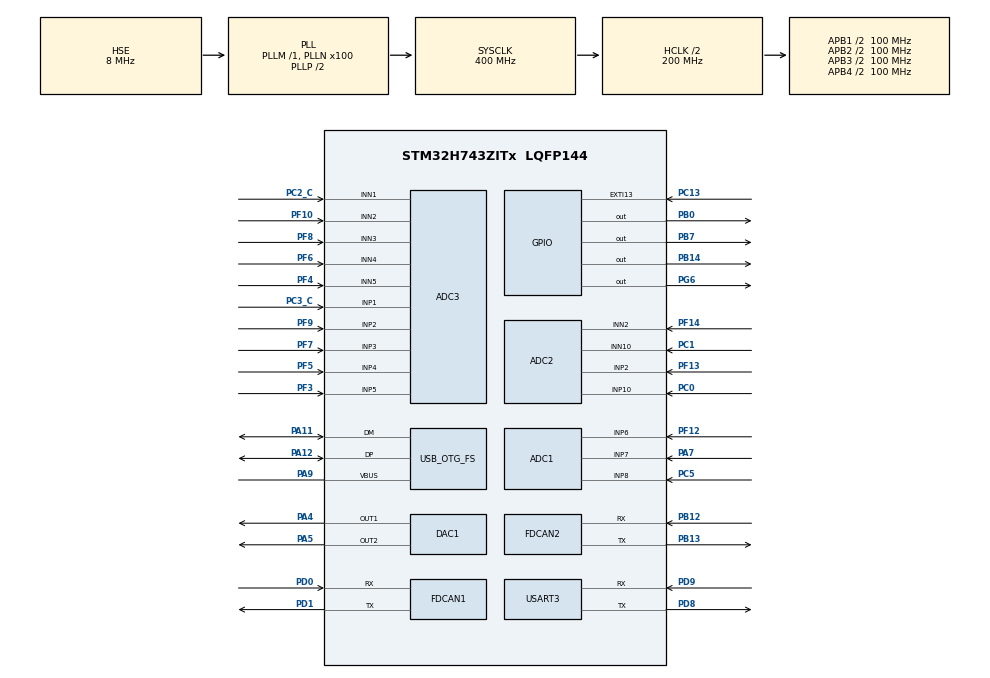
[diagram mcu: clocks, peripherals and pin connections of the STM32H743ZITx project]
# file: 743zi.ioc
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ADC1.Channel-0\#ChannelRegularConversion=ADC_CHANNEL_6
ADC1.Channel-1\#ChannelRegularConversion=ADC_CHANNEL_7
ADC1.Channel-2\#ChannelRegularConversion=ADC_CHANNEL_8
ADC1.ClockPrescaler=ADC_CLOCK_ASYNC_DIV12
ADC1.ContinuousConvMode=ENABLE
ADC1.ConversionDataManagement=ADC_CONVERSIONDATA_DMA_CIRCULAR
ADC1.DiscontinuousConvMode=DISABLE
ADC1.EOCSelection=ADC_EOC_SINGLE_CONV
ADC1.ExternalTrigConv=ADC_SOFTWARE_START
ADC1.NbrOfConversion=3
ADC1.NbrOfConversionFlag=1
ADC1.OffsetNumber-0\#ChannelRegularConversion=ADC_OFFSET_NONE
ADC1.OffsetNumber-1\#ChannelRegularConversion=ADC_OFFSET_NONE
ADC1.OffsetNumber-2\#ChannelRegularConversion=ADC_OFFSET_NONE
ADC1.Overrun=ADC_OVR_DATA_OVERWRITTEN
ADC1.OversamplingMode=DISABLE
ADC1.Rank-0\#ChannelRegularConversion=1
ADC1.Rank-1\#ChannelRegularConversion=2
ADC1.Rank-2\#ChannelRegularConversion=3
ADC1.SamplingTime-0\#ChannelRegularConversion=ADC_SAMPLETIME_810CYCLES_5
ADC1.SamplingTime-1\#ChannelRegularConversion=ADC_SAMPLETIME_810CYCLES_5
ADC1.SamplingTime-2\#ChannelRegularConversion=ADC_SAMPLETIME_810CYCLES_5
ADC1.master=1
ADC2.Channel-0\#ChannelRegularConversion=ADC_CHANNEL_2
ADC2.Channel-1\#ChannelRegularConversion=ADC_CHANNEL_10
ADC2.ClockPrescaler=ADC_CLOCK_ASYNC_DIV12
ADC2.ContinuousConvMode=ENABLE
ADC2.ConversionDataManagement=ADC_CONVERSIONDATA_DMA_CIRCULAR
ADC2.NbrOfConversion=2
ADC2.NbrOfConversionFlag=1
ADC2.OffsetNumber-0\#ChannelRegularConversion=ADC_OFFSET_NONE
ADC2.OffsetNumber-1\#ChannelRegularConversion=ADC_OFFSET_NONE
ADC2.Overrun=ADC_OVR_DATA_OVERWRITTEN
ADC2.Rank-0\#ChannelRegularConversion=1
ADC2.Rank-1\#ChannelRegularConversion=2
ADC2.SamplingTime-0\#ChannelRegularConversion=ADC_SAMPLETIME_1CYCLE_5
ADC2.SamplingTime-1\#ChannelRegularConversion=ADC_SAMPLETIME_1CYCLE_5
ADC2.SingleDiff-0\#ChannelRegularConversion=ADC_DIFFERENTIAL_ENDED
ADC2.SingleDiff-1\#ChannelRegularConversion=ADC_DIFFERENTIAL_ENDED
ADC3.Channel-0\#ChannelRegularConversion=ADC_CHANNEL_1
ADC3.Channel-1\#ChannelRegularConversion=ADC_CHANNEL_2
ADC3.Channel-2\#ChannelRegularConversion=ADC_CHANNEL_3
ADC3.Channel-3\#ChannelRegularConversion=ADC_CHANNEL_4
ADC3.Channel-4\#ChannelRegularConversion=ADC_CHANNEL_5
ADC3.ClockPrescaler=ADC_CLOCK_ASYNC_DIV12
ADC3.ContinuousConvMode=ENABLE
ADC3.ConversionDataManagement=ADC_CONVERSIONDATA_DMA_CIRCULAR
ADC3.NbrOfConversion=5
ADC3.NbrOfConversionFlag=1
ADC3.OffsetNumber-0\#ChannelRegularConversion=ADC_OFFSET_NONE
ADC3.OffsetNumber-1\#ChannelRegularConversion=ADC_OFFSET_NONE
ADC3.OffsetNumber-2\#ChannelRegularConversion=ADC_OFFSET_NONE
ADC3.OffsetNumber-3\#ChannelRegularConversion=ADC_OFFSET_NONE
ADC3.OffsetNumber-4\#ChannelRegularConversion=ADC_OFFSET_NONE
ADC3.Overrun=ADC_OVR_DATA_OVERWRITTEN
ADC3.OversamplingMode=DISABLE
ADC3.Rank-0\#ChannelRegularConversion=1
ADC3.Rank-1\#ChannelRegularConversion=2
ADC3.Rank-2\#ChannelRegularConversion=3
ADC3.Rank-3\#ChannelRegularConversion=4
ADC3.Rank-4\#ChannelRegularConversion=5
ADC3.SamplingTime-0\#ChannelRegularConversion=ADC_SAMPLETIME_1CYCLE_5
ADC3.SamplingTime-1\#ChannelRegularConversion=ADC_SAMPLETIME_1CYCLE_5
ADC3.SamplingTime-2\#ChannelRegularConversion=ADC_SAMPLETIME_1CYCLE_5
ADC3.SamplingTime-3\#ChannelRegularConversion=ADC_SAMPLETIME_1CYCLE_5
ADC3.SamplingTime-4\#ChannelRegularConversion=ADC_SAMPLETIME_1CYCLE_5
ADC3.SingleDiff-0\#ChannelRegularConversion=ADC_DIFFERENTIAL_ENDED
ADC3.SingleDiff-1\#ChannelRegularConversion=ADC_DIFFERENTIAL_ENDED
ADC3.SingleDiff-2\#ChannelRegularConversion=ADC_DIFFERENTIAL_ENDED
ADC3.SingleDiff-3\#ChannelRegularConversion=ADC_DIFFERENTIAL_ENDED
ADC3.SingleDiff-4\#ChannelRegularConversion=ADC_DIFFERENTIAL_ENDED
CORTEX_M7.CPU_DCache=Disabled
CORTEX_M7.CPU_ICache=Enabled
DAC1.DAC_Channel-DAC_OUT2_ExtAndInt=DAC_CHANNEL_2
DAC1.DAC_HoldTime-DAC_OUT2_ExtAndInt=1
DAC1.DAC_RefreshTime-DAC_OUT2_ExtAndInt=1
DAC1.DAC_SampleAndHold-DAC_OUT2_ExtAndInt=DAC_SAMPLEANDHOLD_ENABLE
DAC1.DAC_SampleTime-DAC_OUT2_ExtAndInt=1
DAC1.DAC_Trigger-DAC_OUT1_ExtAndInt=DAC_TRIGGER_T7_TRGO
DAC1.DAC_Trigger-DAC_OUT2_ExtAndInt=DAC_TRIGGER_T7_TRGO
DAC1.WaveGeneration-DAC_OUT1_ExtAndInt=DISABLE
DAC1.WaveGeneration-DAC_OUT2_ExtAndInt=DISABLE
Dma.ADC1.2.Direction=DMA_PERIPH_TO_MEMORY
Dma.ADC1.2.EventEnable=DISABLE
Dma.ADC1.2.FIFOMode=DMA_FIFOMODE_DISABLE
Dma.ADC1.2.Instance=DMA1_Stream4
Dma.ADC1.2.MemDataAlignment=DMA_MDATAALIGN_HALFWORD
Dma.ADC1.2.MemInc=DMA_MINC_ENABLE
Dma.ADC1.2.Mode=DMA_CIRCULAR
Dma.ADC1.2.PeriphDataAlignment=DMA_PDATAALIGN_HALFWORD
Dma.ADC1.2.PeriphInc=DMA_PINC_DISABLE
Dma.ADC1.2.Polarity=HAL_DMAMUX_REQ_GEN_RISING
Dma.ADC1.2.Priority=DMA_PRIORITY_HIGH
Dma.ADC1.2.RequestNumber=1
Dma.ADC1.2.SyncEnable=DISABLE
Dma.ADC1.2.SyncPolarity=HAL_DMAMUX_SYNC_NO_EVENT
Dma.ADC1.2.SyncRequestNumber=1
Dma.ADC2.3.Direction=DMA_PERIPH_TO_MEMORY
Dma.ADC2.3.EventEnable=DISABLE
Dma.ADC2.3.FIFOMode=DMA_FIFOMODE_DISABLE
Dma.ADC2.3.Instance=DMA1_Stream5
Dma.ADC2.3.MemDataAlignment=DMA_MDATAALIGN_HALFWORD
Dma.ADC2.3.MemInc=DMA_MINC_ENABLE
Dma.ADC2.3.Mode=DMA_CIRCULAR
Dma.ADC2.3.PeriphDataAlignment=DMA_PDATAALIGN_HALFWORD
Dma.ADC2.3.PeriphInc=DMA_PINC_DISABLE
Dma.ADC2.3.Polarity=HAL_DMAMUX_REQ_GEN_RISING
Dma.ADC2.3.Priority=DMA_PRIORITY_LOW
Dma.ADC2.3.RequestNumber=1
Dma.ADC2.3.SyncEnable=DISABLE
Dma.ADC2.3.SyncPolarity=HAL_DMAMUX_SYNC_NO_EVENT
Dma.ADC2.3.SyncRequestNumber=1
Dma.ADC3.4.Direction=DMA_PERIPH_TO_MEMORY
Dma.ADC3.4.EventEnable=DISABLE
Dma.ADC3.4.FIFOMode=DMA_FIFOMODE_DISABLE
Dma.ADC3.4.Instance=DMA1_Stream6
Dma.ADC3.4.MemDataAlignment=DMA_MDATAALIGN_HALFWORD
Dma.ADC3.4.MemInc=DMA_MINC_ENABLE
Dma.ADC3.4.Mode=DMA_CIRCULAR
Dma.ADC3.4.PeriphDataAlignment=DMA_PDATAALIGN_HALFWORD
Dma.ADC3.4.PeriphInc=DMA_PINC_DISABLE
Dma.ADC3.4.Polarity=HAL_DMAMUX_REQ_GEN_RISING
Dma.ADC3.4.Priority=DMA_PRIORITY_LOW
Dma.ADC3.4.RequestNumber=1
Dma.ADC3.4.SignalID=HAL_DMAMUX2_REQ_GEN_ADC3_IT
Dma.ADC3.4.SyncEnable=DISABLE
Dma.ADC3.4.SyncPolarity=HAL_DMAMUX_SYNC_NO_EVENT
Dma.ADC3.4.SyncRequestNumber=1
Dma.DAC1_CH1.0.Direction=DMA_MEMORY_TO_PERIPH
Dma.DAC1_CH1.0.EventEnable=DISABLE
Dma.DAC1_CH1.0.FIFOMode=DMA_FIFOMODE_DISABLE
Dma.DAC1_CH1.0.Instance=DMA1_Stream2
Dma.DAC1_CH1.0.MemDataAlignment=DMA_MDATAALIGN_HALFWORD
Dma.DAC1_CH1.0.MemInc=DMA_MINC_ENABLE
Dma.DAC1_CH1.0.Mode=DMA_CIRCULAR
Dma.DAC1_CH1.0.PeriphDataAlignment=DMA_PDATAALIGN_HALFWORD
Dma.DAC1_CH1.0.PeriphInc=DMA_PINC_DISABLE
Dma.DAC1_CH1.0.Polarity=HAL_DMAMUX_REQ_GEN_RISING
Dma.DAC1_CH1.0.Priority=DMA_PRIORITY_LOW
Dma.DAC1_CH1.0.RequestNumber=1
Dma.DAC1_CH1.0.SyncEnable=DISABLE
Dma.DAC1_CH1.0.SyncPolarity=HAL_DMAMUX_SYNC_NO_EVENT
Dma.DAC1_CH1.0.SyncRequestNumber=1
Dma.DAC1_CH2.1.Direction=DMA_MEMORY_TO_PERIPH
Dma.DAC1_CH2.1.EventEnable=DISABLE
Dma.DAC1_CH2.1.FIFOMode=DMA_FIFOMODE_DISABLE
Dma.DAC1_CH2.1.Instance=DMA1_Stream3
Dma.DAC1_CH2.1.MemDataAlignment=DMA_MDATAALIGN_HALFWORD
Dma.DAC1_CH2.1.MemInc=DMA_MINC_ENABLE
Dma.DAC1_CH2.1.Mode=DMA_CIRCULAR
Dma.DAC1_CH2.1.PeriphDataAlignment=DMA_PDATAALIGN_HALFWORD
Dma.DAC1_CH2.1.PeriphInc=DMA_PINC_DISABLE
Dma.DAC1_CH2.1.Polarity=HAL_DMAMUX_REQ_GEN_RISING
Dma.DAC1_CH2.1.Priority=DMA_PRIORITY_LOW
Dma.DAC1_CH2.1.RequestNumber=1
Dma.DAC1_CH2.1.SyncEnable=DISABLE
Dma.DAC1_CH2.1.SyncPolarity=HAL_DMAMUX_SYNC_NO_EVENT
Dma.DAC1_CH2.1.SyncRequestNumber=1
Dma.Request0=DAC1_CH1
Dma.Request1=DAC1_CH2
Dma.Request2=ADC1
Dma.Request3=ADC2
Dma.Request4=ADC3
Dma.Request5=USART3_RX
Dma.Request6=USART3_TX
Dma.USART3_RX.5.Direction=DMA_PERIPH_TO_MEMORY
Dma.USART3_RX.5.EventEnable=DISABLE
Dma.USART3_RX.5.FIFOMode=DMA_FIFOMODE_DISABLE
Dma.USART3_RX.5.Instance=DMA1_Stream0
Dma.USART3_RX.5.MemDataAlignment=DMA_MDATAALIGN_BYTE
Dma.USART3_RX.5.MemInc=DMA_MINC_ENABLE
Dma.USART3_RX.5.Mode=DMA_NORMAL
Dma.USART3_RX.5.PeriphDataAlignment=DMA_PDATAALIGN_BYTE
Dma.USART3_RX.5.PeriphInc=DMA_PINC_DISABLE
Dma.USART3_RX.5.Polarity=HAL_DMAMUX_REQ_GEN_RISING
Dma.USART3_RX.5.Priority=DMA_PRIORITY_LOW
Dma.USART3_RX.5.RequestNumber=1
Dma.USART3_RX.5.SyncEnable=DISABLE
Dma.USART3_RX.5.SyncPolarity=HAL_DMAMUX_SYNC_NO_EVENT
Dma.USART3_RX.5.SyncRequestNumber=1
Dma.USART3_TX.6.Direction=DMA_MEMORY_TO_PERIPH
Dma.USART3_TX.6.EventEnable=DISABLE
Dma.USART3_TX.6.FIFOMode=DMA_FIFOMODE_DISABLE
Dma.USART3_TX.6.Instance=DMA1_Stream1
Dma.USART3_TX.6.MemDataAlignment=DMA_MDATAALIGN_BYTE
Dma.USART3_TX.6.MemInc=DMA_MINC_ENABLE
Dma.USART3_TX.6.Mode=DMA_NORMAL
Dma.USART3_TX.6.PeriphDataAlignment=DMA_PDATAALIGN_BYTE
Dma.USART3_TX.6.PeriphInc=DMA_PINC_DISABLE
Dma.USART3_TX.6.Polarity=HAL_DMAMUX_REQ_GEN_RISING
Dma.USART3_TX.6.Priority=DMA_PRIORITY_LOW
Dma.USART3_TX.6.RequestNumber=1
Dma.USART3_TX.6.SyncEnable=DISABLE
Dma.USART3_TX.6.SyncPolarity=HAL_DMAMUX_SYNC_NO_EVENT
Dma.USART3_TX.6.SyncRequestNumber=1
FDCAN1.AutoRetransmission=ENABLE
FDCAN1.DataTimeSeg2=1
FDCAN1.NominalPrescaler=50
FDCAN1.NominalTimeSeg1=3
FDCAN1.NominalTimeSeg2=4
FDCAN2.AutoRetransmission=ENABLE
FDCAN2.Init_ProtocolException=ENABLE
FDCAN2.Mode=FDCAN_MODE_INTERNAL_LOOPBACK
FDCAN2.TransmitPause=ENABLE
FDCAN2.TxDelayCompensation=ENABLE
Mcu.Family=STM32H7
Mcu.Name=STM32H743ZITx
Mcu.Package=LQFP144
NVIC.DMA1_Stream0_IRQn=true\:0\:0\:false\:false\:true\:false
NVIC.DMA1_Stream1_IRQn=true\:0\:0\:false\:false\:true\:false
NVIC.DMA1_Stream2_IRQn=true\:4\:0\:true\:false\:true\:false
NVIC.DMA1_Stream3_IRQn=true\:4\:0\:true\:false\:true\:false
NVIC.DMA1_Stream4_IRQn=true\:4\:0\:true\:false\:true\:false
NVIC.DMA1_Stream5_IRQn=true\:4\:0\:true\:false\:true\:false
NVIC.DMA1_Stream6_IRQn=true\:4\:0\:true\:false\:true\:false
NVIC.EXTI15_10_IRQn=true\:5\:1\:true\:false\:true\:true
NVIC.FDCAN1_IT0_IRQn=true\:0\:0\:false\:false\:true\:true
NVIC.FDCAN1_IT1_IRQn=true\:0\:0\:false\:false\:true\:true
NVIC.FDCAN2_IT0_IRQn=true\:0\:0\:false\:false\:true\:true
NVIC.FDCAN2_IT1_IRQn=true\:0\:0\:false\:false\:true\:true
NVIC.FDCAN_CAL_IRQn=true\:0\:0\:false\:false\:true\:true
NVIC.OTG_FS_IRQn=true\:0\:0\:false\:false\:true\:true
NVIC.PriorityGroup=NVIC_PRIORITYGROUP_3
NVIC.TIM6_DAC_IRQn=true\:0\:0\:false\:false\:true\:true
NVIC.TIM7_IRQn=true\:0\:0\:false\:false\:true\:true
NVIC.USART3_IRQn=true\:0\:0\:false\:false\:true\:true
PA11.Mode=Device_Only
PA11.Signal=USB_OTG_FS_DM
PA12.Mode=Device_Only
PA12.Signal=USB_OTG_FS_DP
PA13\ (JTMS/SWDIO).Mode=Serial_Wire
PA13\ (JTMS/SWDIO).Signal=SYS_JTMS-SWDIO
PA14\ (JTCK/SWCLK).Mode=Serial_Wire
PA14\ (JTCK/SWCLK).Signal=SYS_JTCK-SWCLK
PA4.Signal=COMP_DAC11_group
PA5.Signal=COMP_DAC12_group
PA7.Signal=ADCx_INP7
PA9.Mode=Activate_VBUS_BCD
PA9.Signal=USB_OTG_FS_VBUS
PB0.GPIO_ModeDefaultOutputPP=GPIO_MODE_OUTPUT_PP
PB0.GPIO_PuPd=GPIO_NOPULL
PB0.GPIO_Speed=GPIO_SPEED_FREQ_LOW
PB0.PinState=GPIO_PIN_RESET
PB0.Signal=GPIO_Output
PB12.Mode=FDCANSlave
PB12.Signal=FDCAN2_RX
PB13.Mode=FDCANSlave
PB13.Signal=FDCAN2_TX
PB14.Signal=GPIO_Output
PB7.Signal=GPIO_Output
PC0.Signal=ADCx_INP10
PC1.Signal=ADCx_INN10
PC13.GPIO_PuPd=GPIO_PULLDOWN
PC13.Signal=GPXTI13
PC14-OSC32_IN\ (OSC32_IN).Mode=LSE-External-Clock-Source
PC14-OSC32_IN\ (OSC32_IN).Signal=RCC_OSC32_IN
PC15-OSC32_OUT\ (OSC32_OUT).Mode=LSE-External-Clock-Source
PC15-OSC32_OUT\ (OSC32_OUT).Signal=RCC_OSC32_OUT
PC2_C.Mode=IN1-Differential
PC2_C.Signal=ADC3_INN1
PC3_C.Mode=IN1-Differential
PC3_C.Signal=ADC3_INP1
PC5.Signal=ADCx_INP8
PD0.Mode=FDCANMaster
PD0.Signal=FDCAN1_RX
PD1.Mode=FDCANMaster
PD1.Signal=FDCAN1_TX
PD8.Mode=Asynchronous
PD8.Signal=USART3_TX
PD9.Mode=Asynchronous
PD9.Signal=USART3_RX
PF10.Mode=IN2-Differential
PF10.Signal=ADC3_INN2
PF12.Mode=IN6-Single-Ended
PF12.Signal=ADC1_INP6
PF13.Mode=IN2-Differential
PF13.Signal=ADC2_INP2
PF14.Mode=IN2-Differential
PF14.Signal=ADC2_INN2
PF3.Mode=IN5-Differential
PF3.Signal=ADC3_INP5
PF4.Mode=IN5-Differential
PF4.Signal=ADC3_INN5
PF5.Mode=IN4-Differential
PF5.Signal=ADC3_INP4
PF6.Mode=IN4-Differential
PF6.Signal=ADC3_INN4
PF7.Mode=IN3-Differential
PF7.Signal=ADC3_INP3
PF8.Mode=IN3-Differential
PF8.Signal=ADC3_INN3
PF9.Mode=IN2-Differential
PF9.Signal=ADC3_INP2
PG6.Signal=GPIO_Output
PH0-OSC_IN\ (PH0).Mode=HSE-External-Clock-Source
PH0-OSC_IN\ (PH0).Signal=RCC_OSC_IN
PH1-OSC_OUT\ (PH1).Mode=HSE-External-Clock-Source
PH1-OSC_OUT\ (PH1).Signal=RCC_OSC_OUT
ProjectManager.HeapSize=0x4000
ProjectManager.StackSize=0x4000
ProjectManager.TargetToolchain=MDK-ARM V5
RCC.ADCFreq_Value=200000000
RCC.APB1Freq_Value=100000000
RCC.APB2Freq_Value=100000000
RCC.APB3Freq_Value=100000000
RCC.APB4Freq_Value=100000000
RCC.CortexFreq_Value=400000000
RCC.D1PPRE=RCC_APB3_DIV2
RCC.D2PPRE1=RCC_APB1_DIV2
RCC.D2PPRE2=RCC_APB2_DIV2
RCC.D3PPRE=RCC_APB4_DIV2
RCC.DIVM1=1
RCC.DIVM2=1
RCC.DIVM3=1
RCC.DIVN1=100
RCC.DIVN2=50
RCC.DIVN3=48
RCC.DIVQ3=8
RCC.FDCANCLockSelection=RCC_FDCANCLKSOURCE_PLL2
RCC.HCLKFreq_Value=200000000
RCC.HPRE=RCC_HCLK_DIV2
RCC.HSE_VALUE=8000000
RCC.PLLSourceVirtual=RCC_PLLSOURCE_HSE
RCC.SYSCLKFreq_VALUE=400000000
RCC.SYSCLKSource=RCC_SYSCLKSOURCE_PLLCLK
RCC.USBCLockSelection=RCC_USBCLKSOURCE_PLL3
RCC.USBFreq_Value=48000000
SH.ADCx_INN10.0=ADC2_INN10,IN10-Differential
SH.ADCx_INP10.0=ADC2_INP10,IN10-Differential
SH.ADCx_INP7.0=ADC1_INP7,IN7-Single-Ended
SH.ADCx_INP8.0=ADC1_INP8,IN8-Single-Ended
SH.COMP_DAC11_group.0=DAC1_OUT1,DAC_OUT1_ExtAndInt
SH.COMP_DAC12_group.0=DAC1_OUT2,DAC_OUT2_ExtAndInt
TIM4.AutoReloadPreload=TIM_AUTORELOAD_PRELOAD_DISABLE
TIM4.ClockDivision=TIM_CLOCKDIVISION_DIV4
TIM4.Period=10000
TIM4.Prescaler=20000
TIM4.TIM_MasterOutputTrigger=TIM_TRGO_UPDATE
TIM6.Period=65535
TIM6.Prescaler=200
TIM7.AutoReloadPreload=TIM_AUTORELOAD_PRELOAD_ENABLE
TIM7.Period=1000
TIM7.Prescaler=20000
TIM7.TIM_MasterOutputTrigger=TIM_TRGO_UPDATE
USART3.VirtualMode-Asynchronous=VM_ASYNC
USB_DEVICE.CLASS_NAME_FS=CDC
USB_DEVICE.USBD_DEBUG_LEVEL-CDC_FS=3
USB_DEVICE.VirtualMode-CDC_FS=Cdc
USB_DEVICE.VirtualModeFS=Cdc_FS
USB_OTG_FS.VirtualMode=Device_Only
USB_OTG_FS.lpm_enable=DISABLE
VP_RNG_VS_RNG.Mode=RNG_Activate
VP_TIM4_VS_ClockSourceINT.Mode=Internal
VP_TIM6_VS_ClockSourceINT.Mode=Enable_Timer
VP_TIM7_VS_ClockSourceINT.Mode=Enable_Timer
VP_USB_DEVICE_VS_USB_DEVICE_CDC_FS.Mode=CDC_FS
board=custom

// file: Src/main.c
/* USER CODE BEGIN Header */
/**
  ******************************************************************************
  * @file           : main.c
  * @brief          : Main program body
  ******************************************************************************
  ** This notice applies to any and all portions of this file
  * that are not between comment pairs USER CODE BEGIN and
  * USER CODE END. Other portions of this file, whether
  * inserted by the user or by software development tools
  * are owned by their respective copyright owners.
  *
  * COPYRIGHT(c) 2019 STMicroelectronics
  *
  * Redistribution and use in source and binary forms, with or without modification,
  * are permitted provided that the following conditions are met:
  *   1. Redistributions of source code must retain the above copyright notice,
  *      this list of conditions and the following disclaimer.
  *   2. Redistributions in binary form must reproduce the above copyright notice,
  *      this list of conditions and the following disclaimer in the documentation
  *      and/or other materials provided with the distribution.
  *   3. Neither the name of STMicroelectronics nor the names of its contributors
  *      may be used to endorse or promote products derived from this software
  *      without specific prior written permission.
  *
  * THIS SOFTWARE IS PROVIDED BY THE COPYRIGHT HOLDERS AND CONTRIBUTORS "AS IS"
  * AND ANY EXPRESS OR IMPLIED WARRANTIES, INCLUDING, BUT NOT LIMITED TO, THE
  * IMPLIED WARRANTIES OF MERCHANTABILITY AND FITNESS FOR A PARTICULAR PURPOSE ARE
  * DISCLAIMED. IN NO EVENT SHALL THE COPYRIGHT HOLDER OR CONTRIBUTORS BE LIABLE
  * FOR ANY DIRECT, INDIRECT, INCIDENTAL, SPECIAL, EXEMPLARY, OR CONSEQUENTIAL
  * DAMAGES (INCLUDING, BUT NOT LIMITED TO, PROCUREMENT OF SUBSTITUTE GOODS OR
  * SERVICES; LOSS OF USE, DATA, OR PROFITS; OR BUSINESS INTERRUPTION) HOWEVER
  * CAUSED AND ON ANY THEORY OF LIABILITY, WHETHER IN CONTRACT, STRICT LIABILITY,
  * OR TORT (INCLUDING NEGLIGENCE OR OTHERWISE) ARISING IN ANY WAY OUT OF THE USE
  * OF THIS SOFTWARE, EVEN IF ADVISED OF THE POSSIBILITY OF SUCH DAMAGE.
  *
  ******************************************************************************
  */
/* USER CODE END Header */

#include "main.h"
#include "usb_device.h"

/* USER CODE BEGIN Includes */
#include "stdio.h"
#include "string.h"
#include <math.h>
#include "arm_math.h"
#include "arm_const_structs.h"
#include "led.h"
//#include "user_usbfs.h"

// #include "usbd_hid.h"
/* USER CODE END Includes */

/* USER CODE BEGIN PD */
#define BUFFER_SIZE 2

#define TIMER_TIM           htim6   // can only use 32bit timers TIM2 or TIM5
#define TIMER_CLOCK         (rccClocks.PCLK1_Frequency * 2)
#define TIMER_EN            RCC_APB1PeriphClockCmd(RCC_APB1Periph_TIM6, ENABLE)
#define TIMER_IRQ_CH        TIM6_IRQn
#define TIMER_ISR           TIM6_IRQHandler
//#define TIMER_CORE_HALT       DBGMCU_TIM5_STOP

#define timerMicros()       (uint32_t)((uint32_t)TIMER_TIM.Instance->CNT+clock6high8)
#define timerStart()        timerStart = timerMicros()
#define timerStop()         (timerMicros() - timerStart)
/* USER CODE END PD */

ADC_HandleTypeDef hadc1;
ADC_HandleTypeDef hadc2;
ADC_HandleTypeDef hadc3;
DMA_HandleTypeDef hdma_adc1;
DMA_HandleTypeDef hdma_adc2;
DMA_HandleTypeDef hdma_adc3;

DAC_HandleTypeDef hdac1;
DMA_HandleTypeDef hdma_dac1_ch1;
DMA_HandleTypeDef hdma_dac1_ch2;

FDCAN_HandleTypeDef hfdcan1;
FDCAN_HandleTypeDef hfdcan2;

RNG_HandleTypeDef hrng;

TIM_HandleTypeDef htim4;
TIM_HandleTypeDef htim6;
TIM_HandleTypeDef htim7;

UART_HandleTypeDef huart3;
DMA_HandleTypeDef hdma_usart3_rx;
DMA_HandleTypeDef hdma_usart3_tx;

/* USER CODE BEGIN PV */
uint8_t rx_buffer[BUFFER_SIZE] = {0};
uint32_t clock6high8 = 0, timerStart;
static char str[100] = {1, 2, 3, 4, 0};
uint16_t adc_con_val[100] = {0};
uint16_t adc_con_val1[100] = {0};
uint16_t adc_con_val3[30] = {0};
const uint16_t CH_value[32] =
{
//  100,200,300,400,500,600,700,800,900,1000,
//  1100,1200,1300,1400,1500,1600,1700,1800,1900,2000,
//  2100,2200,2300,2400,2500,2600,2700,2800,2900,3000,3100,3200,
    2448, 2832, 3186, 3496, 3751, 3940, 4057, 4095, 4057, 3940,
    3751, 3496, 3186, 2832, 2448, 2048, 1648, 1264, 910, 600, 345,
    156, 39, 0, 39, 156, 345, 600, 910, 1264, 1648, 2048
};

/* USER CODE END PV */

void SystemClock_Config(void);
static void MX_GPIO_Init(void);
static void MX_DMA_Init(void);
static void MX_TIM6_Init(void);
static void MX_TIM7_Init(void);
static void MX_DAC1_Init(void);
static void MX_ADC1_Init(void);
static void MX_TIM4_Init(void);
static void MX_ADC3_Init(void);
static void MX_ADC2_Init(void);
static void MX_RNG_Init(void);
static void MX_FDCAN1_Init(void);
static void MX_FDCAN2_Init(void);
static void MX_USART3_UART_Init(void);
/* USER CODE BEGIN PFP */
void    UserTaskEntry(void);
void UserTaskEntry1(void);
void UserTaskEntry2(void);
void UserTaskEntry3(void);
void UserTaskEntry4(void);
void UserTaskEntry5(void);
void UserTaskEntry6(void);
/* USER CODE END PFP */

/* USER CODE BEGIN 0 */
int fputc(int ch, FILE* stream)
{
	HAL_UART_Transmit(&huart3, (uint8_t*)&ch, 1, 1000);
	return ch;
}

    void DMA_Usart_Send(uint8_t * buf, uint8_t len) //串口发送封装
    {
//    while (HAL_DMA_GetState(&hdma_usart3_tx) != HAL_DMA_STATE_READY){}
//      while (0!= usart1_send_complete_flag){}

//    while ((hdma_usart1_tx.Instance->CNDTR)>0);
        HAL_UART_Transmit_DMA(&huart3, buf, len);
//      while (HAL_DMA_GetState(&hdma_usart3_tx) != HAL_DMA_STATE_READY){}

        while (huart3.gState == HAL_UART_STATE_BUSY_TX)
        {
            ;
        }
//              usart1_send_complete_flag=1;

    }

    void HAL_UART_RxCpltCallback(UART_HandleTypeDef * UartHandle)
    {
        if(rx_buffer[0] != 0x0D)
            HAL_UART_Transmit_DMA(&huart3, rx_buffer, sizeof(rx_buffer) - 1); //可以通过DMA把数据发出去
        else
            HAL_UART_Transmit_DMA(&huart3, (uint8_t*)"\r\n", 2); //可以通过DMA把数据发出去

        HAL_UART_Receive_DMA(&huart3, (uint8_t *)rx_buffer, sizeof(rx_buffer) - 1);  //重新使能接收
    }
//回调函数，定时器中断服务函数调用的HAL库函数调用
    void HAL_TIM_PeriodElapsedCallback(TIM_HandleTypeDef * htim)
    {
        if(htim == (&htim6))
        {
//              DMA_Usart_Send((uint8_t*)"begin6\r\n",8);
            clock6high8 += 0x10000;
            rt_hw_led_tog() ;

//          static uint16_t qwqw=3000;
//          qwqw+=50;
//          if(qwqw>4000) qwqw=3000;
//          HAL_DAC_SetValue(&hdac1, DAC_CHANNEL_2, DAC_ALIGN_12B_R, qwqw);
        }
        if(htim == (&htim7))
        {
            rt_hw_led_tog()     ;
        }
    }
/* USER CODE END 0 */

int main(void)
{

  /* Enable I-Cache---------------------------------------------------------*/
  SCB_EnableICache();

  /* MCU Configuration--------------------------------------------------------*/

  /* Reset of all peripherals, Initializes the Flash interface and the Systick. */
  HAL_Init();

  /* Configure the system clock */
  SystemClock_Config();

  /* Initialize all configured peripherals */
  MX_GPIO_Init();
  MX_DMA_Init();
  MX_TIM6_Init();
  MX_TIM7_Init();
  MX_DAC1_Init();
  MX_ADC1_Init();
  MX_TIM4_Init();
  MX_ADC3_Init();
  MX_ADC2_Init();
  MX_RNG_Init();
  MX_FDCAN1_Init();
  MX_FDCAN2_Init();
  MX_USB_DEVICE_Init();
  MX_USART3_UART_Init();
  /* USER CODE BEGIN 2 */
        UserTaskEntry();
        UserTaskEntry1();
        UserTaskEntry2();
        UserTaskEntry3();
        UserTaskEntry4();
        UserTaskEntry5();
        UserTaskEntry6();
  /* USER CODE END 2 */

  /* Infinite loop */
  /* USER CODE BEGIN WHILE */
        while (1)
        {
//					printf("while 1");
    /* USER CODE END WHILE */

        }
}

void SystemClock_Config(void)
{
  RCC_OscInitTypeDef RCC_OscInitStruct = {0};
  RCC_ClkInitTypeDef RCC_ClkInitStruct = {0};
  RCC_PeriphCLKInitTypeDef PeriphClkInitStruct = {0};

  /**Supply configuration update enable
  */
  MODIFY_REG(PWR->CR3, PWR_CR3_SCUEN, 0);
  /**Configure the main internal regulator output voltage
  */
  __HAL_PWR_VOLTAGESCALING_CONFIG(PWR_REGULATOR_VOLTAGE_SCALE1);

  while ((PWR->D3CR & (PWR_D3CR_VOSRDY)) != PWR_D3CR_VOSRDY)
  {

  }
  /**Macro to configure the PLL clock source
  */
  __HAL_RCC_PLL_PLLSOURCE_CONFIG(RCC_PLLSOURCE_HSE);
  /**Initializes the CPU, AHB and APB busses clocks
  */
  RCC_OscInitStruct.OscillatorType = RCC_OSCILLATORTYPE_HSI48|RCC_OSCILLATORTYPE_HSE;
  RCC_OscInitStruct.HSEState = RCC_HSE_BYPASS;
  RCC_OscInitStruct.HSI48State = RCC_HSI48_ON;
  RCC_OscInitStruct.PLL.PLLState = RCC_PLL_ON;
  RCC_OscInitStruct.PLL.PLLSource = RCC_PLLSOURCE_HSE;
  RCC_OscInitStruct.PLL.PLLM = 1;
  RCC_OscInitStruct.PLL.PLLN = 100;
  RCC_OscInitStruct.PLL.PLLP = 2;
  RCC_OscInitStruct.PLL.PLLQ = 2;
  RCC_OscInitStruct.PLL.PLLR = 2;
  RCC_OscInitStruct.PLL.PLLRGE = RCC_PLL1VCIRANGE_3;
  RCC_OscInitStruct.PLL.PLLVCOSEL = RCC_PLL1VCOWIDE;
  RCC_OscInitStruct.PLL.PLLFRACN = 0;
  if (HAL_RCC_OscConfig(&RCC_OscInitStruct) != HAL_OK)
  {
    Error_Handler();
  }
  /**Initializes the CPU, AHB and APB busses clocks
  */
  RCC_ClkInitStruct.ClockType = RCC_CLOCKTYPE_HCLK|RCC_CLOCKTYPE_SYSCLK
                              |RCC_CLOCKTYPE_PCLK1|RCC_CLOCKTYPE_PCLK2
                              |RCC_CLOCKTYPE_D3PCLK1|RCC_CLOCKTYPE_D1PCLK1;
  RCC_ClkInitStruct.SYSCLKSource = RCC_SYSCLKSOURCE_PLLCLK;
  RCC_ClkInitStruct.SYSCLKDivider = RCC_SYSCLK_DIV1;
  RCC_ClkInitStruct.AHBCLKDivider = RCC_HCLK_DIV2;
  RCC_ClkInitStruct.APB3CLKDivider = RCC_APB3_DIV2;
  RCC_ClkInitStruct.APB1CLKDivider = RCC_APB1_DIV2;
  RCC_ClkInitStruct.APB2CLKDivider = RCC_APB2_DIV2;
  RCC_ClkInitStruct.APB4CLKDivider = RCC_APB4_DIV2;

  if (HAL_RCC_ClockConfig(&RCC_ClkInitStruct, FLASH_LATENCY_2) != HAL_OK)
  {
    Error_Handler();
  }
  PeriphClkInitStruct.PeriphClockSelection = RCC_PERIPHCLK_USART3|RCC_PERIPHCLK_FDCAN
                              |RCC_PERIPHCLK_RNG|RCC_PERIPHCLK_ADC
                              |RCC_PERIPHCLK_USB;
  PeriphClkInitStruct.PLL2.PLL2M = 1;
  PeriphClkInitStruct.PLL2.PLL2N = 50;
  PeriphClkInitStruct.PLL2.PLL2P = 2;
  PeriphClkInitStruct.PLL2.PLL2Q = 2;
  PeriphClkInitStruct.PLL2.PLL2R = 2;
  PeriphClkInitStruct.PLL2.PLL2RGE = RCC_PLL2VCIRANGE_3;
  PeriphClkInitStruct.PLL2.PLL2VCOSEL = RCC_PLL2VCOWIDE;
  PeriphClkInitStruct.PLL2.PLL2FRACN = 0;
  PeriphClkInitStruct.PLL3.PLL3M = 1;
  PeriphClkInitStruct.PLL3.PLL3N = 48;
  PeriphClkInitStruct.PLL3.PLL3P = 2;
  PeriphClkInitStruct.PLL3.PLL3Q = 8;
  PeriphClkInitStruct.PLL3.PLL3R = 2;
  PeriphClkInitStruct.PLL3.PLL3RGE = RCC_PLL3VCIRANGE_3;
  PeriphClkInitStruct.PLL3.PLL3VCOSEL = RCC_PLL3VCOWIDE;
  PeriphClkInitStruct.PLL3.PLL3FRACN = 0;
  PeriphClkInitStruct.FdcanClockSelection = RCC_FDCANCLKSOURCE_PLL2;
  PeriphClkInitStruct.Usart234578ClockSelection = RCC_USART234578CLKSOURCE_D2PCLK1;
  PeriphClkInitStruct.RngClockSelection = RCC_RNGCLKSOURCE_HSI48;
  PeriphClkInitStruct.UsbClockSelection = RCC_USBCLKSOURCE_PLL3;
  PeriphClkInitStruct.AdcClockSelection = RCC_ADCCLKSOURCE_PLL2;
  if (HAL_RCCEx_PeriphCLKConfig(&PeriphClkInitStruct) != HAL_OK)
  {
    Error_Handler();
  }
}

static void MX_ADC1_Init(void)
{

  ADC_MultiModeTypeDef multimode = {0};
  ADC_ChannelConfTypeDef sConfig = {0};

  /**Common config
  */
  hadc1.Instance = ADC1;
  hadc1.Init.ClockPrescaler = ADC_CLOCK_ASYNC_DIV12;
  hadc1.Init.Resolution = ADC_RESOLUTION_16B;
  hadc1.Init.ScanConvMode = ADC_SCAN_ENABLE;
  hadc1.Init.EOCSelection = ADC_EOC_SINGLE_CONV;
  hadc1.Init.LowPowerAutoWait = DISABLE;
  hadc1.Init.ContinuousConvMode = ENABLE;
  hadc1.Init.NbrOfConversion = 3;
  hadc1.Init.DiscontinuousConvMode = DISABLE;
  hadc1.Init.ExternalTrigConv = ADC_SOFTWARE_START;
  hadc1.Init.ExternalTrigConvEdge = ADC_EXTERNALTRIGCONVEDGE_NONE;
  hadc1.Init.ConversionDataManagement = ADC_CONVERSIONDATA_DMA_CIRCULAR;
  hadc1.Init.Overrun = ADC_OVR_DATA_OVERWRITTEN;
  hadc1.Init.LeftBitShift = ADC_LEFTBITSHIFT_NONE;
  hadc1.Init.BoostMode = DISABLE;
  hadc1.Init.OversamplingMode = DISABLE;
  if (HAL_ADC_Init(&hadc1) != HAL_OK)
  {
    Error_Handler();
  }
  /**Configure the ADC multi-mode
  */
  multimode.Mode = ADC_MODE_INDEPENDENT;
  if (HAL_ADCEx_MultiModeConfigChannel(&hadc1, &multimode) != HAL_OK)
  {
    Error_Handler();
  }
  /**Configure Regular Channel
  */
  sConfig.Channel = ADC_CHANNEL_6;
  sConfig.Rank = ADC_REGULAR_RANK_1;
  sConfig.SamplingTime = ADC_SAMPLETIME_810CYCLES_5;
  sConfig.SingleDiff = ADC_SINGLE_ENDED;
  sConfig.OffsetNumber = ADC_OFFSET_NONE;
  sConfig.Offset = 0;
  if (HAL_ADC_ConfigChannel(&hadc1, &sConfig) != HAL_OK)
  {
    Error_Handler();
  }
  /**Configure Regular Channel
  */
  sConfig.Channel = ADC_CHANNEL_7;
  sConfig.Rank = ADC_REGULAR_RANK_2;
  if (HAL_ADC_ConfigChannel(&hadc1, &sConfig) != HAL_OK)
  {
    Error_Handler();
  }
  /**Configure Regular Channel
  */
  sConfig.Channel = ADC_CHANNEL_8;
  sConfig.Rank = ADC_REGULAR_RANK_3;
  if (HAL_ADC_ConfigChannel(&hadc1, &sConfig) != HAL_OK)
  {
    Error_Handler();
  }

}

static void MX_ADC2_Init(void)
{

  ADC_ChannelConfTypeDef sConfig = {0};

  /**Common config
  */
  hadc2.Instance = ADC2;
  hadc2.Init.ClockPrescaler = ADC_CLOCK_ASYNC_DIV12;
  hadc2.Init.Resolution = ADC_RESOLUTION_16B;
  hadc2.Init.ScanConvMode = ADC_SCAN_ENABLE;
  hadc2.Init.EOCSelection = ADC_EOC_SINGLE_CONV;
  hadc2.Init.LowPowerAutoWait = DISABLE;
  hadc2.Init.ContinuousConvMode = ENABLE;
  hadc2.Init.NbrOfConversion = 2;
  hadc2.Init.DiscontinuousConvMode = DISABLE;
  hadc2.Init.ExternalTrigConv = ADC_SOFTWARE_START;
  hadc2.Init.ExternalTrigConvEdge = ADC_EXTERNALTRIGCONVEDGE_NONE;
  hadc2.Init.ConversionDataManagement = ADC_CONVERSIONDATA_DMA_CIRCULAR;
  hadc2.Init.Overrun = ADC_OVR_DATA_OVERWRITTEN;
  hadc2.Init.LeftBitShift = ADC_LEFTBITSHIFT_NONE;
  hadc2.Init.BoostMode = DISABLE;
  hadc2.Init.OversamplingMode = DISABLE;
  if (HAL_ADC_Init(&hadc2) != HAL_OK)
  {
    Error_Handler();
  }
  /**Configure Regular Channel
  */
  sConfig.Channel = ADC_CHANNEL_2;
  sConfig.Rank = ADC_REGULAR_RANK_1;
  sConfig.SamplingTime = ADC_SAMPLETIME_1CYCLE_5;
  sConfig.SingleDiff = ADC_DIFFERENTIAL_ENDED;
  sConfig.OffsetNumber = ADC_OFFSET_NONE;
  sConfig.Offset = 0;
  if (HAL_ADC_ConfigChannel(&hadc2, &sConfig) != HAL_OK)
  {
    Error_Handler();
  }
  /**Configure Regular Channel
  */
  sConfig.Channel = ADC_CHANNEL_10;
  sConfig.Rank = ADC_REGULAR_RANK_2;
  if (HAL_ADC_ConfigChannel(&hadc2, &sConfig) != HAL_OK)
  {
    Error_Handler();
  }

}

static void MX_ADC3_Init(void)
{

  ADC_ChannelConfTypeDef sConfig = {0};

  /**Common config
  */
  hadc3.Instance = ADC3;
  hadc3.Init.ClockPrescaler = ADC_CLOCK_ASYNC_DIV12;
  hadc3.Init.Resolution = ADC_RESOLUTION_16B;
  hadc3.Init.ScanConvMode = ADC_SCAN_ENABLE;
  hadc3.Init.EOCSelection = ADC_EOC_SINGLE_CONV;
  hadc3.Init.LowPowerAutoWait = DISABLE;
  hadc3.Init.ContinuousConvMode = ENABLE;
  hadc3.Init.NbrOfConversion = 5;
  hadc3.Init.DiscontinuousConvMode = DISABLE;
  hadc3.Init.ExternalTrigConv = ADC_SOFTWARE_START;
  hadc3.Init.ExternalTrigConvEdge = ADC_EXTERNALTRIGCONVEDGE_NONE;
  hadc3.Init.ConversionDataManagement = ADC_CONVERSIONDATA_DMA_CIRCULAR;
  hadc3.Init.Overrun = ADC_OVR_DATA_OVERWRITTEN;
  hadc3.Init.LeftBitShift = ADC_LEFTBITSHIFT_NONE;
  hadc3.Init.BoostMode = DISABLE;
  hadc3.Init.OversamplingMode = DISABLE;
  if (HAL_ADC_Init(&hadc3) != HAL_OK)
  {
    Error_Handler();
  }
  /**Configure Regular Channel
  */
  sConfig.Channel = ADC_CHANNEL_1;
  sConfig.Rank = ADC_REGULAR_RANK_1;
  sConfig.SamplingTime = ADC_SAMPLETIME_1CYCLE_5;
  sConfig.SingleDiff = ADC_DIFFERENTIAL_ENDED;
  sConfig.OffsetNumber = ADC_OFFSET_NONE;
  sConfig.Offset = 0;
  if (HAL_ADC_ConfigChannel(&hadc3, &sConfig) != HAL_OK)
  {
    Error_Handler();
  }
  /**Configure Regular Channel
  */
  sConfig.Channel = ADC_CHANNEL_2;
  sConfig.Rank = ADC_REGULAR_RANK_2;
  if (HAL_ADC_ConfigChannel(&hadc3, &sConfig) != HAL_OK)
  {
    Error_Handler();
  }
  /**Configure Regular Channel
  */
  sConfig.Channel = ADC_CHANNEL_3;
  sConfig.Rank = ADC_REGULAR_RANK_3;
  if (HAL_ADC_ConfigChannel(&hadc3, &sConfig) != HAL_OK)
  {
    Error_Handler();
  }
  /**Configure Regular Channel
  */
  sConfig.Channel = ADC_CHANNEL_4;
  sConfig.Rank = ADC_REGULAR_RANK_4;
  if (HAL_ADC_ConfigChannel(&hadc3, &sConfig) != HAL_OK)
  {
    Error_Handler();
  }
  /**Configure Regular Channel
  */
  sConfig.Channel = ADC_CHANNEL_5;
  sConfig.Rank = ADC_REGULAR_RANK_5;
  if (HAL_ADC_ConfigChannel(&hadc3, &sConfig) != HAL_OK)
  {
    Error_Handler();
  }

}

static void MX_DAC1_Init(void)
{

  DAC_ChannelConfTypeDef sConfig = {0};

  /**DAC Initialization
  */
  hdac1.Instance = DAC1;
  if (HAL_DAC_Init(&hdac1) != HAL_OK)
  {
    Error_Handler();
  }
  /**DAC channel OUT1 config
  */
  sConfig.DAC_SampleAndHold = DAC_SAMPLEANDHOLD_DISABLE;
  sConfig.DAC_Trigger = DAC_TRIGGER_T7_TRGO;
  sConfig.DAC_OutputBuffer = DAC_OUTPUTBUFFER_ENABLE;
  sConfig.DAC_ConnectOnChipPeripheral = DAC_CHIPCONNECT_ENABLE;
  sConfig.DAC_UserTrimming = DAC_TRIMMING_FACTORY;
  if (HAL_DAC_ConfigChannel(&hdac1, &sConfig, DAC_CHANNEL_1) != HAL_OK)
  {
    Error_Handler();
  }
  /**DAC channel OUT2 config
  */
  sConfig.DAC_SampleAndHold = DAC_SAMPLEANDHOLD_ENABLE;
  sConfig.DAC_ConnectOnChipPeripheral = DAC_CHIPCONNECT_ENABLE;
  sConfig.DAC_SampleAndHoldConfig.DAC_SampleTime = 1;
  sConfig.DAC_SampleAndHoldConfig.DAC_HoldTime = 1;
  sConfig.DAC_SampleAndHoldConfig.DAC_RefreshTime = 1;
  if (HAL_DAC_ConfigChannel(&hdac1, &sConfig, DAC_CHANNEL_2) != HAL_OK)
  {
    Error_Handler();
  }
  /* USER CODE BEGIN DAC1_Init 2 */
        if (HAL_DAC_Start(&hdac1, DAC_CHANNEL_1) != HAL_OK)
        {
            Error_Handler();
        }
        if (HAL_DAC_SetValue(&hdac1, DAC_CHANNEL_1, DAC_ALIGN_12B_R, 0x100) != HAL_OK)
        {
            Error_Handler();
        }

        /////////////
        if (HAL_DAC_Start(&hdac1, DAC_CHANNEL_2) != HAL_OK)
        {
            Error_Handler();
        }
        if (HAL_DAC_SetValue(&hdac1, DAC_CHANNEL_2, DAC_ALIGN_12B_R, 0x100) != HAL_OK)
        {
            Error_Handler();
        }

  /* USER CODE END DAC1_Init 2 */

}

static void MX_FDCAN1_Init(void)
{

  hfdcan1.Instance = FDCAN1;
  hfdcan1.Init.FrameFormat = FDCAN_FRAME_CLASSIC;
  hfdcan1.Init.Mode = FDCAN_MODE_NORMAL;
  hfdcan1.Init.AutoRetransmission = ENABLE;
  hfdcan1.Init.TransmitPause = DISABLE;
  hfdcan1.Init.NominalPrescaler = 50;
  hfdcan1.Init.NominalSyncJumpWidth = 1;
  hfdcan1.Init.NominalTimeSeg1 = 3;
  hfdcan1.Init.NominalTimeSeg2 = 4;
  hfdcan1.Init.DataPrescaler = 1;
  hfdcan1.Init.DataSyncJumpWidth = 1;
  hfdcan1.Init.DataTimeSeg1 = 1;
  hfdcan1.Init.DataTimeSeg2 = 1;
  hfdcan1.Init.MessageRAMOffset = 0;
  hfdcan1.Init.StdFiltersNbr = 0;
  hfdcan1.Init.ExtFiltersNbr = 0;
  hfdcan1.Init.RxFifo0ElmtsNbr = 0;
  hfdcan1.Init.RxFifo0ElmtSize = FDCAN_DATA_BYTES_8;
  hfdcan1.Init.RxFifo1ElmtsNbr = 0;
  hfdcan1.Init.RxFifo1ElmtSize = FDCAN_DATA_BYTES_8;
  hfdcan1.Init.RxBuffersNbr = 0;
  hfdcan1.Init.RxBufferSize = FDCAN_DATA_BYTES_8;
  hfdcan1.Init.TxEventsNbr = 0;
  hfdcan1.Init.TxBuffersNbr = 0;
  hfdcan1.Init.TxFifoQueueElmtsNbr = 0;
  hfdcan1.Init.TxFifoQueueMode = FDCAN_TX_FIFO_OPERATION;
  hfdcan1.Init.TxElmtSize = FDCAN_DATA_BYTES_8;
  hfdcan1.msgRam.StandardFilterSA = 0;
  hfdcan1.msgRam.ExtendedFilterSA = 0;
  hfdcan1.msgRam.RxFIFO0SA = 0;
  hfdcan1.msgRam.RxFIFO1SA = 0;
  hfdcan1.msgRam.RxBufferSA = 0;
  hfdcan1.msgRam.TxEventFIFOSA = 0;
  hfdcan1.msgRam.TxBufferSA = 0;
  hfdcan1.msgRam.TxFIFOQSA = 0;
  hfdcan1.msgRam.TTMemorySA = 0;
  hfdcan1.msgRam.EndAddress = 0;
  hfdcan1.ErrorCode = 0;
  if (HAL_FDCAN_Init(&hfdcan1) != HAL_OK)
  {
    Error_Handler();
  }

}

static void MX_FDCAN2_Init(void)
{

  hfdcan2.Instance = FDCAN2;
  hfdcan2.Init.FrameFormat = FDCAN_FRAME_CLASSIC;
  hfdcan2.Init.Mode = FDCAN_MODE_INTERNAL_LOOPBACK;
  hfdcan2.Init.AutoRetransmission = ENABLE;
  hfdcan2.Init.TransmitPause = ENABLE;
  hfdcan2.Init.NominalPrescaler = 1;
  hfdcan2.Init.NominalSyncJumpWidth = 1;
  hfdcan2.Init.NominalTimeSeg1 = 2;
  hfdcan2.Init.NominalTimeSeg2 = 2;
  hfdcan2.Init.DataPrescaler = 1;
  hfdcan2.Init.DataSyncJumpWidth = 1;
  hfdcan2.Init.DataTimeSeg1 = 1;
  hfdcan2.Init.DataTimeSeg2 = 1;
  hfdcan2.Init.MessageRAMOffset = 0;
  hfdcan2.Init.StdFiltersNbr = 0;
  hfdcan2.Init.ExtFiltersNbr = 0;
  hfdcan2.Init.RxFifo0ElmtsNbr = 0;
  hfdcan2.Init.RxFifo0ElmtSize = FDCAN_DATA_BYTES_8;
  hfdcan2.Init.RxFifo1ElmtsNbr = 0;
  hfdcan2.Init.RxFifo1ElmtSize = FDCAN_DATA_BYTES_8;
  hfdcan2.Init.RxBuffersNbr = 0;
  hfdcan2.Init.RxBufferSize = FDCAN_DATA_BYTES_8;
  hfdcan2.Init.TxEventsNbr = 0;
  hfdcan2.Init.TxBuffersNbr = 0;
  hfdcan2.Init.TxFifoQueueElmtsNbr = 0;
  hfdcan2.Init.TxFifoQueueMode = FDCAN_TX_FIFO_OPERATION;
  hfdcan2.Init.TxElmtSize = FDCAN_DATA_BYTES_8;
  hfdcan2.msgRam.StandardFilterSA = 0;
  hfdcan2.msgRam.ExtendedFilterSA = 0;
  hfdcan2.msgRam.RxFIFO0SA = 0;
  hfdcan2.msgRam.RxFIFO1SA = 0;
  hfdcan2.msgRam.RxBufferSA = 0;
  hfdcan2.msgRam.TxEventFIFOSA = 0;
  hfdcan2.msgRam.TxBufferSA = 0;
  hfdcan2.msgRam.TxFIFOQSA = 0;
  hfdcan2.msgRam.TTMemorySA = 0;
  hfdcan2.msgRam.EndAddress = 0;
  hfdcan2.ErrorCode = 0;
  if (HAL_FDCAN_Init(&hfdcan2) != HAL_OK)
  {
    Error_Handler();
  }

}

static void MX_RNG_Init(void)
{

  hrng.Instance = RNG;
  hrng.Init.ClockErrorDetection = RNG_CED_ENABLE;
  if (HAL_RNG_Init(&hrng) != HAL_OK)
  {
    Error_Handler();
  }

}

static void MX_TIM4_Init(void)
{

  TIM_ClockConfigTypeDef sClockSourceConfig = {0};
  TIM_MasterConfigTypeDef sMasterConfig = {0};

  htim4.Instance = TIM4;
  htim4.Init.Prescaler = 20000;
  htim4.Init.CounterMode = TIM_COUNTERMODE_UP;
  htim4.Init.Period = 10000;
  htim4.Init.ClockDivision = TIM_CLOCKDIVISION_DIV4;
  htim4.Init.AutoReloadPreload = TIM_AUTORELOAD_PRELOAD_DISABLE;
  if (HAL_TIM_Base_Init(&htim4) != HAL_OK)
  {
    Error_Handler();
  }
  sClockSourceConfig.ClockSource = TIM_CLOCKSOURCE_INTERNAL;
  if (HAL_TIM_ConfigClockSource(&htim4, &sClockSourceConfig) != HAL_OK)
  {
    Error_Handler();
  }
  sMasterConfig.MasterOutputTrigger = TIM_TRGO_UPDATE;
  sMasterConfig.MasterSlaveMode = TIM_MASTERSLAVEMODE_DISABLE;
  if (HAL_TIMEx_MasterConfigSynchronization(&htim4, &sMasterConfig) != HAL_OK)
  {
    Error_Handler();
  }

}

static void MX_TIM6_Init(void)
{

  TIM_MasterConfigTypeDef sMasterConfig = {0};

  htim6.Instance = TIM6;
  htim6.Init.Prescaler = 200;
  htim6.Init.CounterMode = TIM_COUNTERMODE_UP;
  htim6.Init.Period = 65535;
  htim6.Init.AutoReloadPreload = TIM_AUTORELOAD_PRELOAD_DISABLE;
  if (HAL_TIM_Base_Init(&htim6) != HAL_OK)
  {
    Error_Handler();
  }
  sMasterConfig.MasterOutputTrigger = TIM_TRGO_RESET;
  sMasterConfig.MasterSlaveMode = TIM_MASTERSLAVEMODE_DISABLE;
  if (HAL_TIMEx_MasterConfigSynchronization(&htim6, &sMasterConfig) != HAL_OK)
  {
    Error_Handler();
  }
  /* USER CODE BEGIN TIM6_Init 2 */
        HAL_TIM_Base_Start_IT(&htim6); //使能定时器3和定时器3更新中断：TIM_IT_UPDATE
  /* USER CODE END TIM6_Init 2 */

}

static void MX_TIM7_Init(void)
{

  TIM_MasterConfigTypeDef sMasterConfig = {0};

  htim7.Instance = TIM7;
  htim7.Init.Prescaler = 20000;
  htim7.Init.CounterMode = TIM_COUNTERMODE_UP;
  htim7.Init.Period = 1000;
  htim7.Init.AutoReloadPreload = TIM_AUTORELOAD_PRELOAD_ENABLE;
  if (HAL_TIM_Base_Init(&htim7) != HAL_OK)
  {
    Error_Handler();
  }
  sMasterConfig.MasterOutputTrigger = TIM_TRGO_UPDATE;
  sMasterConfig.MasterSlaveMode = TIM_MASTERSLAVEMODE_DISABLE;
  if (HAL_TIMEx_MasterConfigSynchronization(&htim7, &sMasterConfig) != HAL_OK)
  {
    Error_Handler();
  }
  /* USER CODE BEGIN TIM7_Init 2 */
//  HAL_TIM_Base_Start_IT(&htim7); //使能定时器3和定时器3更新中断：TIM_IT_UPDATE
        HAL_TIM_Base_Start(&htim7);
  /* USER CODE END TIM7_Init 2 */

}

static void MX_USART3_UART_Init(void)
{

  huart3.Instance = USART3;
  huart3.Init.BaudRate = 115200;
  huart3.Init.WordLength = UART_WORDLENGTH_8B;
  huart3.Init.StopBits = UART_STOPBITS_1;
  huart3.Init.Parity = UART_PARITY_NONE;
  huart3.Init.Mode = UART_MODE_TX_RX;
  huart3.Init.HwFlowCtl = UART_HWCONTROL_NONE;
  huart3.Init.OverSampling = UART_OVERSAMPLING_16;
  huart3.Init.OneBitSampling = UART_ONE_BIT_SAMPLE_DISABLE;
  huart3.Init.Prescaler = UART_PRESCALER_DIV1;
  huart3.Init.FIFOMode = UART_FIFOMODE_DISABLE;
  huart3.Init.TXFIFOThreshold = UART_TXFIFO_THRESHOLD_1_8;
  huart3.Init.RXFIFOThreshold = UART_RXFIFO_THRESHOLD_1_8;
  huart3.AdvancedInit.AdvFeatureInit = UART_ADVFEATURE_NO_INIT;
  if (HAL_UART_Init(&huart3) != HAL_OK)
  {
    Error_Handler();
  }

}

static void MX_DMA_Init(void)
{
  /* DMA controller clock enable */
  __HAL_RCC_DMA1_CLK_ENABLE();

  /* DMA interrupt init */
  /* DMA1_Stream0_IRQn interrupt configuration */
  HAL_NVIC_SetPriority(DMA1_Stream0_IRQn, 0, 0);
  HAL_NVIC_EnableIRQ(DMA1_Stream0_IRQn);
  /* DMA1_Stream1_IRQn interrupt configuration */
  HAL_NVIC_SetPriority(DMA1_Stream1_IRQn, 0, 0);
  HAL_NVIC_EnableIRQ(DMA1_Stream1_IRQn);
  /* DMA1_Stream2_IRQn interrupt configuration */
  HAL_NVIC_SetPriority(DMA1_Stream2_IRQn, 4, 0);
  HAL_NVIC_EnableIRQ(DMA1_Stream2_IRQn);
  /* DMA1_Stream3_IRQn interrupt configuration */
  HAL_NVIC_SetPriority(DMA1_Stream3_IRQn, 4, 0);
  HAL_NVIC_EnableIRQ(DMA1_Stream3_IRQn);
  /* DMA1_Stream4_IRQn interrupt configuration */
  HAL_NVIC_SetPriority(DMA1_Stream4_IRQn, 4, 0);
  HAL_NVIC_EnableIRQ(DMA1_Stream4_IRQn);
  /* DMA1_Stream5_IRQn interrupt configuration */
  HAL_NVIC_SetPriority(DMA1_Stream5_IRQn, 4, 0);
  HAL_NVIC_EnableIRQ(DMA1_Stream5_IRQn);
  /* DMA1_Stream6_IRQn interrupt configuration */
  HAL_NVIC_SetPriority(DMA1_Stream6_IRQn, 4, 0);
  HAL_NVIC_EnableIRQ(DMA1_Stream6_IRQn);

}

static void MX_GPIO_Init(void)
{
  GPIO_InitTypeDef GPIO_InitStruct = {0};

  /* GPIO Ports Clock Enable */
  __HAL_RCC_GPIOC_CLK_ENABLE();
  __HAL_RCC_GPIOF_CLK_ENABLE();
  __HAL_RCC_GPIOH_CLK_ENABLE();
  __HAL_RCC_GPIOA_CLK_ENABLE();
  __HAL_RCC_GPIOB_CLK_ENABLE();
  __HAL_RCC_GPIOD_CLK_ENABLE();
  __HAL_RCC_GPIOG_CLK_ENABLE();

  /*Configure GPIO pin Output Level */
  HAL_GPIO_WritePin(GPIOB, GPIO_PIN_0|GPIO_PIN_14|GPIO_PIN_7, GPIO_PIN_RESET);

  /*Configure GPIO pin Output Level */
  HAL_GPIO_WritePin(GPIOG, GPIO_PIN_6, GPIO_PIN_RESET);

  /*Configure GPIO pin : PC13 */
  GPIO_InitStruct.Pin = GPIO_PIN_13;
  GPIO_InitStruct.Mode = GPIO_MODE_IT_RISING;
  GPIO_InitStruct.Pull = GPIO_PULLDOWN;
  HAL_GPIO_Init(GPIOC, &GPIO_InitStruct);

  /*Configure GPIO pins : PB0 PB14 PB7 */
  GPIO_InitStruct.Pin = GPIO_PIN_0|GPIO_PIN_14|GPIO_PIN_7;
  GPIO_InitStruct.Mode = GPIO_MODE_OUTPUT_PP;
  GPIO_InitStruct.Pull = GPIO_NOPULL;
  GPIO_InitStruct.Speed = GPIO_SPEED_FREQ_LOW;
  HAL_GPIO_Init(GPIOB, &GPIO_InitStruct);

  /*Configure GPIO pin : PG6 */
  GPIO_InitStruct.Pin = GPIO_PIN_6;
  GPIO_InitStruct.Mode = GPIO_MODE_OUTPUT_PP;
  GPIO_InitStruct.Pull = GPIO_NOPULL;
  GPIO_InitStruct.Speed = GPIO_SPEED_FREQ_LOW;
  HAL_GPIO_Init(GPIOG, &GPIO_InitStruct);

  /* EXTI interrupt init*/
  HAL_NVIC_SetPriority(EXTI15_10_IRQn, 5, 1);
  HAL_NVIC_EnableIRQ(EXTI15_10_IRQn);

}

/* USER CODE BEGIN 4 */
    void    UserTaskEntry(void)
    {
        volatile uint32_t i = 0, temptime = 0, temptime1 = 0, num = 300000;
        volatile uint32_t testint32 = 0, q2 = 0xffffffff, q3 = 0xf0000000;
        volatile float testfloat = 1.1f, q1 = 1.1f, q4 = 2.2f;
        volatile double testdouble = 1.1, q5 = 1.1f, q6 = 2.2f, q7 = 3.3f;

        HAL_UART_Receive_DMA(&huart3, (uint8_t *)rx_buffer, sizeof(rx_buffer) - 1); //qi启动usart receive
        DMA_Usart_Send((uint8_t*)"begin11\r\n", 11);
//  for(i=0xffff;i>0;i--);

        /////////////////////////////////////
        i = 0xffffffff;
        temptime = 0xffffffff;
        timerStart();
        i = num;
        for(; i > 0; i--)
        {
        }
        temptime =   timerStop();
///////////////////////////////////////
        i = 0xffffffff;
        temptime1 = 0xffffffff;
        timerStart();
        i = num;
        for(; i > 0; i--)
        {
        }
        temptime1 = timerStop();
        sprintf((char*)str, "delta time  = %d\r\n", temptime1 - temptime);
        DMA_Usart_Send((uint8_t*)(str), strlen(str));
///////////////////////////////////////
        i = 0xffffffff;
        temptime1 = 0xffffffff;
        timerStart();
        i = num;
        for(; i > 0; i--)
        {
            testint32 = q2 * q3;
        }
        temptime1 = timerStop();
        sprintf((char*)str, "testint32 = %d\r\n", temptime1 - temptime);
        DMA_Usart_Send((uint8_t*)(str), strlen(str));
        ///////////////////////////////////////
        i = 0xffffffff;
        temptime1 = 0xffffffff;
        timerStart();
        i = num;
        for(; i > 0; i--)
        {
        }
        temptime1 = timerStop();
        sprintf((char*)str, "delta time  = %d\r\n", temptime1 - temptime);
        DMA_Usart_Send((uint8_t*)(str), strlen(str));
///////////////////////////////////////
        i = 0xffffffff;
        temptime1 = 0xffffffff;
        timerStart();
        i = num;
        for(; i > 0; i--)
        {
            testdouble = testdouble * testdouble;
        }
        temptime1 = timerStop();
        sprintf((char*)str, "testdouble = %d\r\n", temptime1 - temptime);
        DMA_Usart_Send((uint8_t*)(str), strlen(str));
        ///////////////////////////////////////
        i = 0xffffffff;
        temptime1 = 0xffffffff;
        timerStart();
        i = num;
        for(; i > 0; i--)
        {
        }
        temptime1 = timerStop();
        sprintf((char*)str, "delta time  = %d\r\n", temptime1 - temptime);
        DMA_Usart_Send((uint8_t*)(str), strlen(str));
        ///////////////////////////////////////
        i = 0xffffffff;
        temptime1 = 0xffffffff;
        timerStart();
        i = num;
        for(; i > 0; i--)
        {
            testfloat = q1 * q4;
        }
        temptime1 = timerStop();
        sprintf((char*)str, "testfloat = %d\r\n", temptime1 - temptime);
        DMA_Usart_Send((uint8_t*)(str), strlen(str));
        ///////////////////////////////////////
        i = 0xffffffff;
        temptime1 = 0xffffffff;
        timerStart();
        i = num;
        for(; i > 0; i--)
        {
        }
        temptime1 = timerStop();
        sprintf((char*)str, "delta time  = %d\r\n", temptime1 - temptime);
        DMA_Usart_Send((uint8_t*)(str), strlen(str));

        ///////////////////////////////////////
        i = 0xffffffff;
        temptime1 = 0xffffffff;
        timerStart();
        i = num;
        for(; i > 0; i--)
        {
            testfloat = arm_sin_f32(i);
        }
        temptime1 = timerStop();
        sprintf((char*)str, "arm_sin_f32 = %d\r\n", temptime1 - temptime);
        DMA_Usart_Send((uint8_t*)(str), strlen(str));
        ///////////////////////////////////////
        i = 0xffffffff;
        temptime1 = 0xffffffff;
        timerStart();
        i = num;
        for(; i > 0; i--)
        {
        }
        temptime1 = timerStop();
        sprintf((char*)str, "delta time  = %d\r\n", temptime1 - temptime);
        DMA_Usart_Send((uint8_t*)(str), strlen(str));
        ///////////////////////////////////////
        i = 0xffffffff;
        temptime1 = 0xffffffff;
        timerStart();
        i = num;
        for(; i > 0; i--)
        {
            testfloat = sin(i);
        }
        temptime1 = timerStop();
        sprintf((char*)str, "sin = %d\r\n", temptime1 - temptime);
        DMA_Usart_Send((uint8_t*)(str), strlen(str));
        ///////////////////////////////////////
        i = 0xffffffff;
        temptime1 = 0xffffffff;
        timerStart();
        i = num;
        for(; i > 0; i--)
        {
        }
        temptime1 = timerStop();
        sprintf((char*)str, "delta time  = %d\r\n", temptime1 - temptime);
        DMA_Usart_Send((uint8_t*)(str), strlen(str));
        ///////////////////////
        sprintf((char*)str, "runover\r\n");
        DMA_Usart_Send((uint8_t*)(str), strlen(str));
    }
    void UserTaskEntry1(void)
    {
        sprintf(str, "dac test start!\r\n" );
        DMA_Usart_Send((uint8_t*)str, strlen(str));
        /* 启动DAC DMA功能 */
        HAL_DAC_Start_DMA(&hdac1, DAC_CHANNEL_2, (uint32_t *)CH_value, 32, DAC_ALIGN_12B_R);
        HAL_DAC_Start_DMA(&hdac1, DAC_CHANNEL_1, (uint32_t *)CH_value, 32, DAC_ALIGN_12B_R);
        sprintf(str, "dac test complete!\r\n" );
        DMA_Usart_Send((uint8_t*)str, strlen(str));
    }
    void UserTaskEntry2(void)
    {
        DMA_Usart_Send((uint8_t*)"begin test adc\r\n", 16);

        HAL_NVIC_DisableIRQ(DMA1_Stream4_IRQn);

        HAL_ADC_Start_DMA(&hadc1, (uint32_t*)adc_con_val, 3);
        HAL_TIM_Base_Start(&htim4);

        for(char temp = 0; temp < 9; temp++)
        {
            sprintf(str, "adc1 =\t%d\t%d\t%d\t%d\t%d\t\r\n", adc_con_val[0], adc_con_val[1], adc_con_val[2], adc_con_val[3], adc_con_val[4]);
            DMA_Usart_Send((uint8_t*)str, strlen(str));
        }
        sprintf(str, "adc1 test complete!\r\n" );
        DMA_Usart_Send((uint8_t*)str, strlen(str));
    }
    void UserTaskEntry3(void)
    {
        DMA_Usart_Send((uint8_t*)"begin test adc2\r\n", 17);

        HAL_NVIC_DisableIRQ(DMA1_Stream5_IRQn);

//HAL_ADC_Start(&hadc3);
        HAL_ADC_Start_DMA(&hadc2, (uint32_t*)(adc_con_val1), 2);

        for(char temp = 0; temp < 9; temp++)
        {
            sprintf(str, "adc2 =\t%d\t%d\t%d\t%d\t%d\t\r\n", adc_con_val1[0], adc_con_val1[1], adc_con_val1[2], adc_con_val1[3], adc_con_val1[4]);
            DMA_Usart_Send((uint8_t*)str, strlen(str));
        }
        sprintf(str, "adc2 test complete!\r\n" );
        DMA_Usart_Send((uint8_t*)str, strlen(str));

    }
    void UserTaskEntry4(void)
    {
        DMA_Usart_Send((uint8_t*)"begin test adc3\r\n", 17);

        HAL_NVIC_DisableIRQ(DMA1_Stream6_IRQn);

//HAL_ADC_Start(&hadc3);
        HAL_ADC_Start_DMA(&hadc3, (uint32_t*)(adc_con_val3), 5);

        for(char temp = 0; temp < 9; temp++)
        {
            sprintf(str, "adc3 =\t%d\t%d\t%d\t%d\t%d\t\r\n", adc_con_val3[0], adc_con_val3[1], adc_con_val3[2], adc_con_val3[3], adc_con_val3[4]);
            DMA_Usart_Send((uint8_t*)str, strlen(str));
        }
        sprintf(str, "adc3 test complete!\r\n" );
        DMA_Usart_Send((uint8_t*)str, strlen(str));

    }
    void UserTaskEntry5(void)
    {
        uint32_t real_random_num = 0;
        for(char temp = 0; temp < 9; temp++)
        {
            HAL_RNG_GenerateRandomNumber(&hrng, &real_random_num);
            sprintf(str, "hrng%d=0x%8x\r\n" , temp, real_random_num);
            DMA_Usart_Send((uint8_t*)str, strlen(str));

        }
        sprintf(str, "RNG test complete!\r\n" );
        DMA_Usart_Send((uint8_t*)str, strlen(str));
    }
    void UserTaskEntry6(void)
    {
        sprintf(str, "begin UserTaskEntry6!\r\n" );
        DMA_Usart_Send((uint8_t*)str, strlen(str));
//    for(char temp = 0; 1; temp++){
//    }
			printf("printf is ok\r\n");

        sprintf(str, "end UserTaskEntry6!\r\n" );
        DMA_Usart_Send((uint8_t*)str, strlen(str));
    }
/* USER CODE END 4 */

void Error_Handler(void)
{
}

/************************ (C) COPYRIGHT STMicroelectronics *****END OF FILE****/
